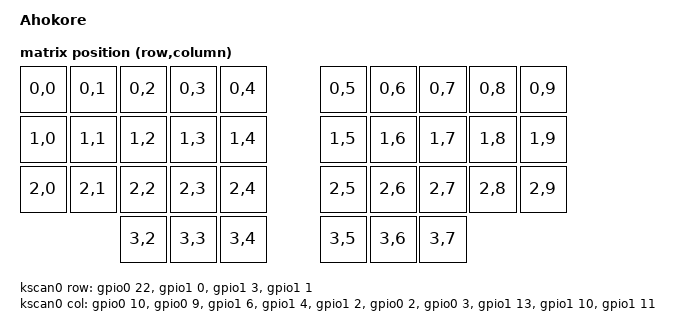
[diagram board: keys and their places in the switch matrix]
/*
 * Copyright (c) 2020 Pete Johanson, TJ Campie
 *
 * SPDX-License-Identifier: MIT
 */

/dts-v1/;
#include <nordic/nrf52840_qiaa.dtsi>
#include <dt-bindings/zmk/matrix_transform.h>

/ {
	model = "Ahokore";
	compatible = "ahokore";

  chosen {
          zephyr,code-partition = &code_partition;
      		zephyr,sram = &sram0;
      		zephyr,flash = &flash0;

          zmk,kscan = &kscan0;
          zmk,matrix_transform = &default_transform;

      default_transform: keymap_transform_0 {
          compatible = "zmk,matrix-transform";
          columns = <10>;
          rows = <4>;
          map = <

      // | SW1  | SW2  | SW3  | SW4  | SW5  |         | SW6  | SW7  | SW8  | SW9  | SW10 |
      // | SW11 | SW12 | SW13 | SW14 | SW15 |         | SW16 | SW17 | SW18 | SW19 | SW20 |
      // | SW21 | SW22 | SW23 | SW24 | SW25 |         | SW26 | SW27 | SW28 | SW29 | SW30 |
      //               | SW31 | SW32 | SW33 |         | SW34 | SW35 | SW36 |
      RC(0,0) RC(0,1) RC(0,2) RC(0,3) RC(0,4) RC(0,5) RC(0,6) RC(0,7) RC(0,8) RC(0,9)
      RC(1,0) RC(1,1) RC(1,2) RC(1,3) RC(1,4) RC(1,5) RC(1,6) RC(1,7) RC(1,8) RC(1,9)
      RC(2,0) RC(2,1) RC(2,2) RC(2,3) RC(2,4) RC(2,5) RC(2,6) RC(2,7) RC(2,8) RC(2,9)
      RC(3,2) RC(3,3) RC(3,4) RC(3,5) RC(3,6) RC(3,7)
          >;
      };

    kscan0: kscan_0 {
        compatible = "zmk,kscan-gpio-matrix";
        label = "KSCAN";
        diode-direction = "col2row";

        col-gpios
            = <&gpio0 10 GPIO_ACTIVE_HIGH>
            , <&gpio0 9 GPIO_ACTIVE_HIGH>
            , <&gpio1 6 GPIO_ACTIVE_HIGH>
            , <&gpio1 4 GPIO_ACTIVE_HIGH>
            , <&gpio1 2 GPIO_ACTIVE_HIGH>
            , <&gpio0 2 GPIO_ACTIVE_HIGH>
            , <&gpio0 3 GPIO_ACTIVE_HIGH>
            , <&gpio1 13 GPIO_ACTIVE_HIGH>
            , <&gpio1 10 GPIO_ACTIVE_HIGH>
            , <&gpio1 11 GPIO_ACTIVE_HIGH>
            ;

        row-gpios
            = <&gpio0 22 (GPIO_ACTIVE_HIGH | GPIO_PULL_DOWN)>
            , <&gpio1 0 (GPIO_ACTIVE_HIGH | GPIO_PULL_DOWN)>
            , <&gpio1 3 (GPIO_ACTIVE_HIGH | GPIO_PULL_DOWN)>
            , <&gpio1 1 (GPIO_ACTIVE_HIGH | GPIO_PULL_DOWN)>
            ;
    };

};

	vbatt {
		compatible = "zmk,battery-voltage-divider";
		label = "BATTERY";
		io-channels = <&adc 2>;
    output-ohms = <2000000>;
		full-ohms = <(2000000 + 806000)>;
	};
};

&adc {
	status = "okay";
};

&gpiote {
	status = "okay";
};

&gpio0 {
	status = "okay";
};

&gpio1 {
	status = "okay";
};

&i2c0 {
	status = "okay";
	compatible = "nordic,nrf-twi";
	sda-pin = <21>;
	scl-pin = <19>;

	oled: ssd1306@3c {
		compatible = "solomon,ssd1306fb";
		reg = <0x3c>;
		label = "DISPLAY";
		width = <128>;
		height = <32>;
		segment-offset = <0>;
		page-offset = <0>;
		display-offset = <0>;
		multiplex-ratio = <31>;
		segment-remap;
		com-invdir;
		com-sequential;
		prechargep = <0x22>;
	};

};

&uart0 {
 	compatible = "nordic,nrf-uarte";
 	status = "okay";
 	current-speed = <115200>;
 	tx-pin = <16>;
 	rx-pin = <14>;
 	rts-pin = <13>;
	cts-pin = <15>;
 };

&usbd {
	status = "okay";
};

&flash0 {
	/*
	 * For more information, see:
	 * http://docs.zephyrproject.org/latest/devices/dts/flash_partitions.html
	 */
	partitions {
		compatible = "fixed-partitions";
		#address-cells = <1>;
		#size-cells = <1>;

		sd_partition: partition@0 {
			label = "softdevice";
			reg = <0x00000000 0x00026000>;
		};
		code_partition: partition@26000 {
			label = "code_partition";
			reg = <0x00026000 0x000c6000>;
		};

		/*
		 * The flash starting at 0x000ec000 and ending at
		 * 0x000f3fff is reserved for use by the application.
		 */

		/*
		 * Storage partition will be used by FCB/LittleFS/NVS
		 * if enabled.
		 */
		storage_partition: partition@ec000 {
			label = "storage";
			reg = <0x000ec000 0x00008000>;
		};

		boot_partition: partition@f4000 {
			label = "adafruit_boot";
			reg = <0x000f4000 0x0000c000>;
		};
	};
};
